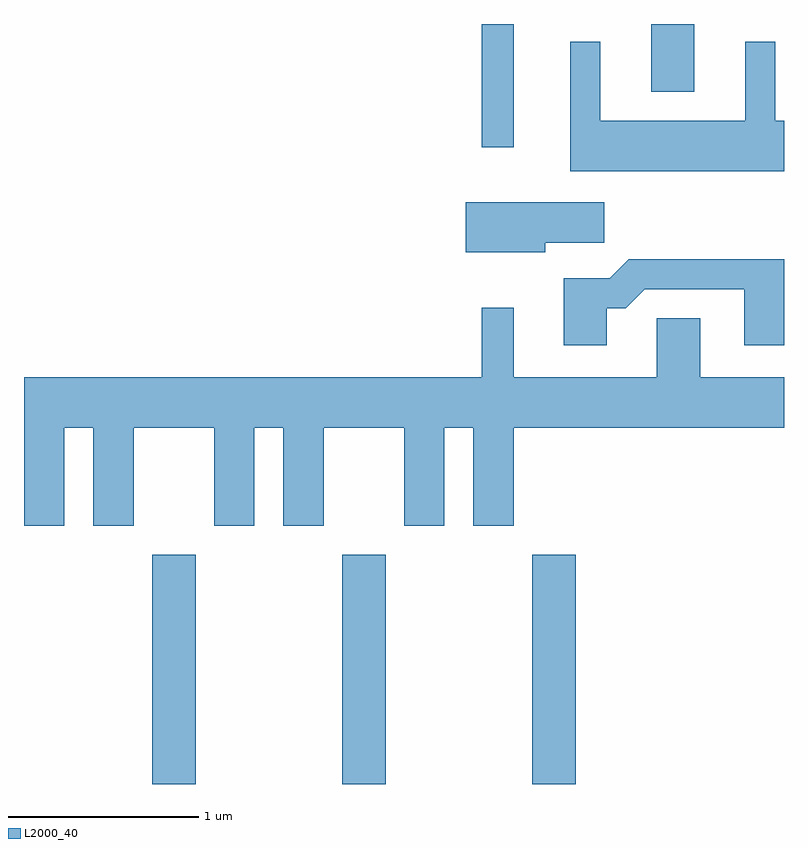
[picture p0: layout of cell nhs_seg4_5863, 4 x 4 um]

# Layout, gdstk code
import gdstk
lib = gdstk.Library(unit=1e-6, precision=1e-09)
def R(c, l, rs):  # rectangles x0, y0, x1, y1
    for r in rs: c.add(gdstk.rectangle(r[:2], r[2:], *l))
def A(c, l, x, y, w, h, nx, ny, dx, dy):  # array of equal rectangles
    R(c, l, [(x+i*dx, y+j*dy, x+i*dx+w, y+j*dy+h) for i in range(nx) for j in range(ny)])
def P(c, l, *ps):  # polygons
    for p in ps: c.add(gdstk.Polygon(p, *l))
L2000_40 = (2000, 40)

nhs_seg4_5863 = lib.new_cell('nhs_seg4_5863')
A(nhs_seg4_5863, L2000_40, 358.286, 1283.982, 0.228, 1.207, 3, 1, 1, 0)
R(nhs_seg4_5863, L2000_40, [(360.021,1287.333,360.189,1287.982), (360.911,1287.626,361.139,1287.982)])
P(nhs_seg4_5863, L2000_40, [(361.611,1287.474),(361.564,1287.474),(361.564,1287.888),(361.406,1287.888),(361.406,1287.474),(360.644,1287.474),(360.644,1287.888),(360.486,1287.888),(360.486,1287.206),(361.611,1287.206)],
  [(360.354,1286.831),(360.664,1286.831),(360.664,1287.044),(359.936,1287.044),(359.936,1286.781),(360.354,1286.781)],
  [(360.679,1286.486),(360.777,1286.486),(360.877,1286.586),(361.401,1286.586),(361.401,1286.291),(361.611,1286.291),(361.611,1286.744),(360.794,1286.744),(360.694,1286.644),(360.451,1286.644),(360.451,1286.291),(360.679,1286.291)],
  [(360.189,1285.856),(361.611,1285.856),(361.611,1286.124),(361.169,1286.124),(361.169,1286.434),(360.941,1286.434),(360.941,1286.124),(360.189,1286.124),(360.189,1286.488),(360.021,1286.488),(360.021,1286.124),(357.611,1286.124),(357.611,1285.341),(357.824,1285.341),(357.824,1285.856),(357.976,1285.856),(357.976,1285.341),(358.189,1285.341),(358.189,1285.856),(358.611,1285.856),(358.611,1285.341),(358.824,1285.341),(358.824,1285.856),(358.976,1285.856),(358.976,1285.341),(359.189,1285.341),(359.189,1285.856),(359.611,1285.856),(359.611,1285.341),(359.824,1285.341),(359.824,1285.856),(359.976,1285.856),(359.976,1285.341),(360.189,1285.341)])

lib.write_gds('nhs_seg4_5863.gds')
